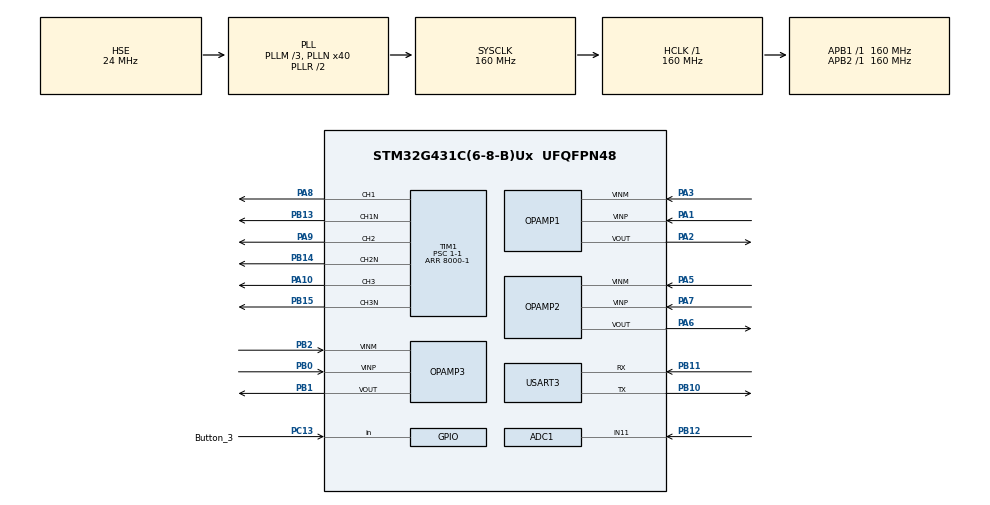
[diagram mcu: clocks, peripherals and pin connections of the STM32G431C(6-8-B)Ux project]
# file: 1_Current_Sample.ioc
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ADC1.Channel-0\#ChannelRegularConversion=ADC_CHANNEL_11
ADC1.ClockPrescaler=ADC_CLOCK_ASYNC_DIV4
ADC1.EnableInjectedConversion=ENABLE
ADC1.InjNumberOfConversion=2
ADC1.InjectedChannel-1\#ChannelInjectedConversion=ADC_CHANNEL_3
ADC1.InjectedChannel-2\#ChannelInjectedConversion=ADC_CHANNEL_12
ADC1.InjectedOffsetNumber-1\#ChannelInjectedConversion=ADC_OFFSET_NONE
ADC1.InjectedOffsetNumber-2\#ChannelInjectedConversion=ADC_OFFSET_NONE
ADC1.InjectedRank-1\#ChannelInjectedConversion=1
ADC1.InjectedRank-2\#ChannelInjectedConversion=2
ADC1.InjectedSamplingTime-1\#ChannelInjectedConversion=ADC_SAMPLETIME_2CYCLES_5
ADC1.InjectedSamplingTime-2\#ChannelInjectedConversion=ADC_SAMPLETIME_2CYCLES_5
ADC1.NbrOfConversionFlag=1
ADC1.OffsetNumber-0\#ChannelRegularConversion=ADC_OFFSET_NONE
ADC1.Rank-0\#ChannelRegularConversion=1
ADC1.Rank1_Channel=ADC_CHANNEL_3
ADC1.Rank2_Channel=ADC_CHANNEL_12
ADC1.SamplingTime-0\#ChannelRegularConversion=ADC_SAMPLETIME_2CYCLES_5
ADC1.master=1
ADC2.Channel-0\#ChannelRegularConversion=ADC_CHANNEL_3
ADC2.ClockPrescaler=ADC_CLOCK_ASYNC_DIV4
ADC2.EnableInjectedConversion=ENABLE
ADC2.InjNumberOfConversion=1
ADC2.InjectedChannel-1\#ChannelInjectedConversion=ADC_CHANNEL_3
ADC2.InjectedOffsetNumber-1\#ChannelInjectedConversion=ADC_OFFSET_NONE
ADC2.InjectedRank-1\#ChannelInjectedConversion=1
ADC2.InjectedSamplingTime-1\#ChannelInjectedConversion=ADC_SAMPLETIME_2CYCLES_5
ADC2.NbrOfConversionFlag=1
ADC2.OffsetNumber-0\#ChannelRegularConversion=ADC_OFFSET_NONE
ADC2.Rank-0\#ChannelRegularConversion=1
ADC2.Rank1_Channel=ADC_CHANNEL_3
ADC2.SamplingTime-0\#ChannelRegularConversion=ADC_SAMPLETIME_2CYCLES_5
Mcu.Family=STM32G4
Mcu.Name=STM32G431C(6-8-B)Ux
Mcu.Package=UFQFPN48
NVIC.ADC1_2_IRQn=true\:0\:0\:false\:false\:true\:true\:true\:true
NVIC.PriorityGroup=NVIC_PRIORITYGROUP_4
NVIC.TIM1_BRK_TIM15_IRQn=true\:0\:0\:false\:false\:true\:true\:true\:true
NVIC.TIM1_UP_TIM16_IRQn=true\:0\:0\:false\:false\:true\:true\:true\:true
PA1.Mode=Standalone
PA1.Signal=OPAMP1_VINP
PA10.Signal=S_TIM1_CH3
PA13.Mode=Serial_Wire
PA13.Signal=SYS_JTMS-SWDIO
PA14.Mode=Serial_Wire
PA14.Signal=SYS_JTCK-SWCLK
PA2.Signal=SharedAnalog_PA2
PA3.Mode=Standalone
PA3.Signal=OPAMP1_VINM
PA5.Mode=Standalone
PA5.Signal=OPAMP2_VINM
PA6.Signal=SharedAnalog_PA6
PA7.Mode=Standalone
PA7.Signal=OPAMP2_VINP
PA8.Signal=S_TIM1_CH1
PA9.Signal=S_TIM1_CH2
PB0.Mode=Standalone
PB0.Signal=OPAMP3_VINP
PB1.Signal=SharedAnalog_PB1
PB10.Mode=Asynchronous
PB10.Signal=USART3_TX
PB11.Mode=Asynchronous
PB11.Signal=USART3_RX
PB12.Mode=IN11-Single-Ended
PB12.Signal=ADC1_IN11
PB13.Mode=PWM Generation1 CH1 CH1N
PB13.Signal=TIM1_CH1N
PB14.Mode=PWM Generation2 CH2 CH2N
PB14.Signal=TIM1_CH2N
PB15.Mode=PWM Generation3 CH3 CH3N
PB15.Signal=TIM1_CH3N
PB2.Mode=Standalone
PB2.Signal=OPAMP3_VINM
PC13.GPIO_Label=Button_3
PC13.Signal=GPIO_Input
PF0-OSC_IN.Mode=HSE-External-Oscillator
PF0-OSC_IN.Signal=RCC_OSC_IN
PF1-OSC_OUT.Mode=HSE-External-Oscillator
PF1-OSC_OUT.Signal=RCC_OSC_OUT
ProjectManager.HeapSize=0x200
ProjectManager.StackSize=0x400
ProjectManager.TargetToolchain=Makefile
RCC.ADC12Freq_Value=160000000
RCC.AHBFreq_Value=160000000
RCC.APB1Freq_Value=160000000
RCC.APB1TimFreq_Value=160000000
RCC.APB2Freq_Value=160000000
RCC.APB2TimFreq_Value=160000000
RCC.CortexFreq_Value=160000000
RCC.EXTERNAL_CLOCK_VALUE=12288000
RCC.HCLKFreq_Value=160000000
RCC.HSE_VALUE=24000000
RCC.HSI48_VALUE=48000000
RCC.HSI_VALUE=16000000
RCC.LSE_VALUE=32768
RCC.PLLM=RCC_PLLM_DIV3
RCC.PLLN=40
RCC.PLLSourceVirtual=RCC_PLLSOURCE_HSE
RCC.SYSCLKFreq_VALUE=160000000
RCC.SYSCLKSource=RCC_SYSCLKSOURCE_PLLCLK
RCC.USBFreq_Value=160000000
RCC.VCOOutputFreq_Value=320000000
SH.S_TIM1_CH1.0=TIM1_CH1,PWM Generation1 CH1 CH1N
SH.S_TIM1_CH2.0=TIM1_CH2,PWM Generation2 CH2 CH2N
SH.S_TIM1_CH3.0=TIM1_CH3,PWM Generation3 CH3 CH3N
SH.SharedAnalog_PA2.0=OPAMP1_VOUT,Standalone
SH.SharedAnalog_PA2.1=ADC1_IN3,IN3-Single-Ended
SH.SharedAnalog_PA6.0=OPAMP2_VOUT,Standalone
SH.SharedAnalog_PA6.1=ADC2_IN3,IN3-Single-Ended
SH.SharedAnalog_PB1.0=OPAMP3_VOUT,Standalone
SH.SharedAnalog_PB1.1=ADC1_IN12,IN12-Single-Ended
TIM1.Channel-PWM\ Generation1\ CH1\ CH1N=TIM_CHANNEL_1
TIM1.Channel-PWM\ Generation2\ CH2\ CH2N=TIM_CHANNEL_2
TIM1.Channel-PWM\ Generation3\ CH3\ CH3N=TIM_CHANNEL_3
TIM1.Channel-PWM\ Generation4\ No\ Output=TIM_CHANNEL_4
TIM1.ClockDivision=TIM_CLOCKDIVISION_DIV2
TIM1.CounterMode=TIM_COUNTERMODE_CENTERALIGNED1
TIM1.DeadTime=120
TIM1.OCMode_PWM-PWM\ Generation4\ No\ Output=TIM_OCMODE_PWM2
TIM1.PeriodNoDither=8000-1
TIM1.Prescaler=1-1
TIM1.PulseNoDither_4=8000-2
TIM1.TIM_MasterOutputTrigger=TIM_TRGO_OC4REF
USART3.VirtualMode-Asynchronous=VM_ASYNC
VP_SYS_VS_DBSignals.Mode=DisableDeadBatterySignals
VP_TIM1_VS_ClockSourceINT.Mode=Internal
VP_TIM1_VS_no_output4.Mode=PWM Generation4 No Output
board=custom

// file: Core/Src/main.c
/* USER CODE BEGIN Header */
/**
 ******************************************************************************
 * @file           : main.c
 * @brief          : Main program body
 ******************************************************************************
 * @attention
 *
 * Copyright (c) 2023 STMicroelectronics.
 * All rights reserved.
 *
 * This software is licensed under terms that can be found in the LICENSE file
 * in the root directory of this software component.
 * If no LICENSE file comes with this software, it is provided AS-IS.
 *
 ******************************************************************************
 */
/* USER CODE END Header */
#include "main.h"
#include "adc.h"
#include "opamp.h"
#include "tim.h"
#include "usart.h"
#include "gpio.h"

/* USER CODE BEGIN Includes */
#include <stdio.h>
/* USER CODE END Includes */

void SystemClock_Config(void);

/* USER CODE BEGIN 0 */
float temp[5];
/* USER CODE END 0 */

int main(void)
{

  /* MCU Configuration--------------------------------------------------------*/

  /* Reset of all peripherals, Initializes the Flash interface and the Systick. */
  HAL_Init();

  /* Configure the system clock */
  SystemClock_Config();

  /* Initialize all configured peripherals */
  MX_GPIO_Init();
  MX_TIM1_Init();
  MX_USART3_UART_Init();
  MX_ADC1_Init();
  MX_ADC2_Init();
  MX_OPAMP1_Init();
  MX_OPAMP2_Init();
  MX_OPAMP3_Init();
  /* USER CODE BEGIN 2 */
    // 运放使能
    HAL_OPAMP_Start(&hopamp1);
    HAL_OPAMP_Start(&hopamp2);
    HAL_OPAMP_Start(&hopamp3);
    // ADC校验
    HAL_ADCEx_Calibration_Start(&hadc1, ADC_SINGLE_ENDED);
    HAL_ADCEx_Calibration_Start(&hadc2, ADC_SINGLE_ENDED);
  /* USER CODE END 2 */

  /* Infinite loop */
    while (1) {

    /* USER CODE BEGIN 3 */
        // 规则组转换使能
        HAL_ADC_Start(&hadc1);
        HAL_ADC_Start(&hadc2);
        // 注入组转换使能
        HAL_ADCEx_InjectedStart_IT(&hadc1);
        HAL_ADCEx_InjectedStart_IT(&hadc2);
        // 电位器电压
        temp[0] = HAL_ADC_GetValue(&hadc1);
        // 母线电压
        temp[1] = HAL_ADC_GetValue(&hadc2) * 0.02494726f;
        printf("%f,%f,%f,%f\r\n", temp[1], temp[2], temp[3], temp[4]);
        HAL_Delay(1);
    }
  /* USER CODE END 3 */
}

void SystemClock_Config(void)
{
  RCC_OscInitTypeDef RCC_OscInitStruct = {0};
  RCC_ClkInitTypeDef RCC_ClkInitStruct = {0};

  /** Configure the main internal regulator output voltage
  */
  HAL_PWREx_ControlVoltageScaling(PWR_REGULATOR_VOLTAGE_SCALE1_BOOST);

  /** Initializes the RCC Oscillators according to the specified parameters
  * in the RCC_OscInitTypeDef structure.
  */
  RCC_OscInitStruct.OscillatorType = RCC_OSCILLATORTYPE_HSE;
  RCC_OscInitStruct.HSEState = RCC_HSE_ON;
  RCC_OscInitStruct.PLL.PLLState = RCC_PLL_ON;
  RCC_OscInitStruct.PLL.PLLSource = RCC_PLLSOURCE_HSE;
  RCC_OscInitStruct.PLL.PLLM = RCC_PLLM_DIV3;
  RCC_OscInitStruct.PLL.PLLN = 40;
  RCC_OscInitStruct.PLL.PLLP = RCC_PLLP_DIV2;
  RCC_OscInitStruct.PLL.PLLQ = RCC_PLLQ_DIV2;
  RCC_OscInitStruct.PLL.PLLR = RCC_PLLR_DIV2;
  if (HAL_RCC_OscConfig(&RCC_OscInitStruct) != HAL_OK)
  {
    Error_Handler();
  }

  /** Initializes the CPU, AHB and APB buses clocks
  */
  RCC_ClkInitStruct.ClockType = RCC_CLOCKTYPE_HCLK|RCC_CLOCKTYPE_SYSCLK
                              |RCC_CLOCKTYPE_PCLK1|RCC_CLOCKTYPE_PCLK2;
  RCC_ClkInitStruct.SYSCLKSource = RCC_SYSCLKSOURCE_PLLCLK;
  RCC_ClkInitStruct.AHBCLKDivider = RCC_SYSCLK_DIV1;
  RCC_ClkInitStruct.APB1CLKDivider = RCC_HCLK_DIV1;
  RCC_ClkInitStruct.APB2CLKDivider = RCC_HCLK_DIV1;

  if (HAL_RCC_ClockConfig(&RCC_ClkInitStruct, FLASH_LATENCY_4) != HAL_OK)
  {
    Error_Handler();
  }
}

/* USER CODE BEGIN 4 */
/**
 * @brief 注入组转换完成回调函数
 */
void HAL_ADCEx_InjectedConvCpltCallback(ADC_HandleTypeDef *hadc)
{
    if (hadc == &hadc1) {
        temp[2] = hadc1.Instance->JDR1;
        temp[2] = (temp[2] - 0x7ef) * 0.0193359375f; // 0.0193359375为运放增益，7ef,7f5,7e8为运放直流偏置
        temp[3] = hadc1.Instance->JDR2;
        temp[3] = (temp[3] - 0x7f5) * 0.0193359375f;
    } else if (hadc == &hadc2) {
        temp[4] = hadc2.Instance->JDR1;
        temp[4] = (temp[4] - 0x7e8) * 0.0193359375f;
    }
}
/* USER CODE END 4 */

void Error_Handler(void)
{
    __disable_irq();
    while (1) {
    }
}
